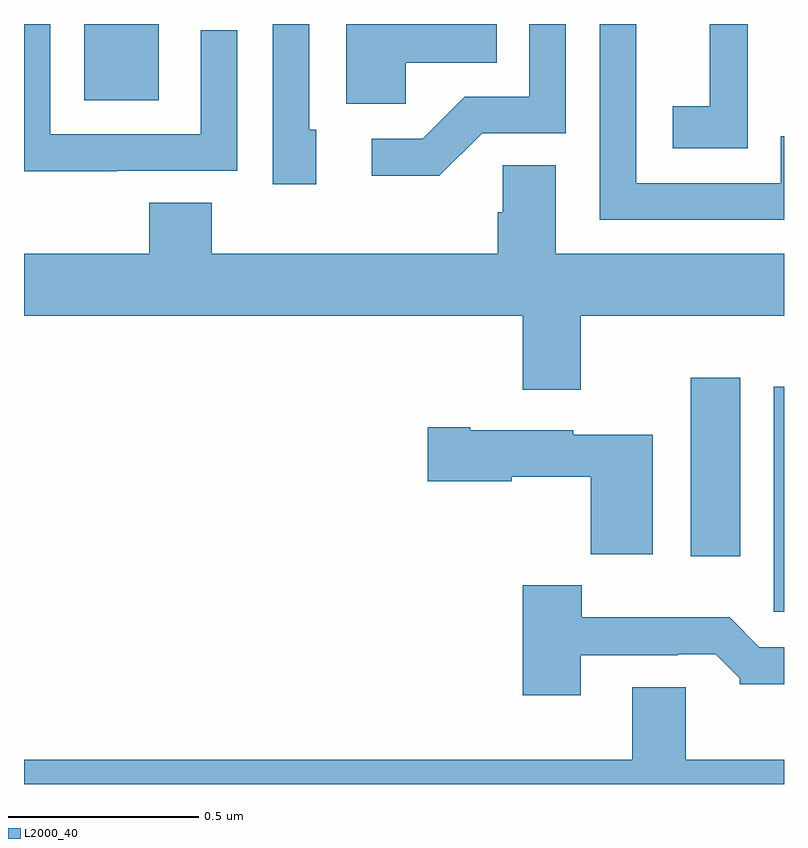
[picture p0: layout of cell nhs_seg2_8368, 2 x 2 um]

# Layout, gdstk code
import gdstk
lib = gdstk.Library(unit=1e-6, precision=1e-09)
def R(c, l, rs):  # rectangles x0, y0, x1, y1
    for r in rs: c.add(gdstk.rectangle(r[:2], r[2:], *l))
def P(c, l, *ps):  # polygons
    for p in ps: c.add(gdstk.Polygon(p, *l))
L2000_40 = (2000, 40)

nhs_seg2_8368 = lib.new_cell('nhs_seg2_8368')
R(nhs_seg2_8368, L2000_40, [(217.973,584.253,218,584.845), (217.754,584.4,217.885,584.869), (216.158,585.599,216.355,585.8)])
P(nhs_seg2_8368, L2000_40, [(217.206,585.513),(217.425,585.513),(217.425,585.8),(217.329,585.8),(217.329,585.609),(217.16,585.609),(217.049,585.498),(216.915,585.498),(216.915,585.401),(217.093,585.401)],
  [(216.245,585.414),(216.561,585.414),(216.561,585.784),(216.465,585.784),(216.465,585.51),(216.069,585.51),(216.069,585.8),(216,585.8),(216,585.413),(216.245,585.413)],
  [(217.005,585.698),(217.244,585.698),(217.244,585.8),(216.848,585.8),(216.848,585.59),(217.005,585.59)],
  [(218,585.504),(217.992,585.504),(217.992,585.381),(217.611,585.381),(217.611,585.8),(217.515,585.8),(217.515,585.285),(218,585.285)],
  [(217.905,585.679),(217.904,585.679),(217.904,585.8),(217.805,585.8),(217.805,585.583),(217.707,585.583),(217.707,585.473),(217.905,585.473)],
  [(216.769,585.522),(216.75,585.522),(216.75,585.8),(216.654,585.8),(216.654,585.378),(216.769,585.378)],
  [(217.465,585.032),(218,585.032),(218,585.196),(217.399,585.196),(217.399,585.428),(217.26,585.428),(217.26,585.305),(217.247,585.305),(217.247,585.196),(216.494,585.196),(216.494,585.329),(216.329,585.329),(216.329,585.196),(216,585.196),(216,585.032),(217.313,585.032),(217.313,584.838),(217.465,584.838)],
  [(217.654,584.719),(217.446,584.719),(217.446,584.731),(217.174,584.731),(217.174,584.739),(217.062,584.739),(217.062,584.597),(217.284,584.597),(217.284,584.609),(217.492,584.609),(217.492,584.405),(217.654,584.405)],
  [(217.465,584.139),(217.721,584.139),(217.721,584.142),(217.82,584.142),(217.884,584.078),(217.884,584.063),(218,584.063),(218,584.16),(217.935,584.16),(217.857,584.239),(217.468,584.239),(217.468,584.323),(217.313,584.323),(217.313,584.034),(217.465,584.034)],
  [(218,583.864),(217.741,583.864),(217.741,584.054),(217.601,584.054),(217.601,583.864),(216,583.864),(216,583.8),(218,583.8)])

lib.write_gds('nhs_seg2_8368.gds')
